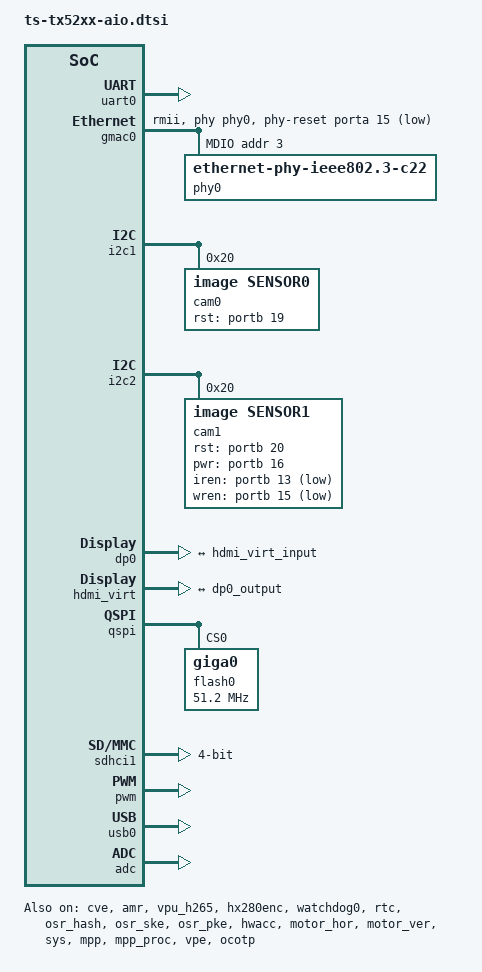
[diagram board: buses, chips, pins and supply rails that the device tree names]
/*
 * dts file for tsingmicro tx511 haps
 *
 * Copyright 2022 Tsingmicro, Inc.
 *
 * This program is free software; you can redistribute it and/or
 * modify it under the terms of the GNU General Public License as
 * published by the Free Software Foundation; either version 2 of
 * the License, or (at your option) any later version.
 */

#include "ts-tx5215.dtsi"
#include "ts-tx5215-clk.dtsi"
#include "ts-tx5215-reset.dtsi"
#include "ts-tx52xx-aio-pinctrl.dtsi"

/ {
	chosen {
		/*bootargs = "console=ttyS0,115200n8 initrd=0xc4000000,4M init=/linuxrc
		 * root=/dev/ram0 rw rootfstype=ext4 rootwait ignore_loglevel earlycon";
		 */
		bootargs = "console=ttyS0,115200n8 earlycon";
		/*bootargs = "console=ttyS0,115200n8 ignore_loglevel";
		 *bootargs = "root=/dev/ram0 rw ramdisk=8192 initrd=0x41000000,8M
		 *console=ttyS0,115200n8 init=/linuxrc";
		 */
		stdout-path = "serial0:115200";
	};

	sound {
		status = "disabled";
		compatible = "ts-es8388,tx5215";
		model = "ts-audio-es8388";
		i2s-controller = <&i2s>;
		audio-codec = <&ts_codec>;
	};

};

&uart0 {
	status = "okay";
};

&uart1 {
	pinctrl-names = "default";
	// pinctrl-0 = <&uart1_pinctrl>;
	status = "disabled";
};

&uart2 {
	pinctrl-names = "default";
	// pinctrl-0 = <&uart2_pinctrl_0>;
	status = "disabled";
};

&usart0 {
	status = "disabled";
};

&usart1 {
	status = "disabled";
};

&rne_dma {
	status = "okay";
};

&gmac0 {
	status = "okay";
	phy-handle = <&phy0>;
	phy-mode = "rmii";
	pinctrl-names = "default";
	pinctrl-0 = <&mac0_pinctrl0>, <&mac0_pinctrl1>, <&mac0_rst_pinctrl>;
	phy-reset-gpios = <&porta 15 GPIO_ACTIVE_LOW>;
	mdio {
		#address-cells = <0x1>;
		#size-cells = <0x0>;
		phy0: phy@0 {
			compatible = "ethernet-phy-ieee802.3-c22";
			device_type = "ethernet-phy";
			reg = <0x3>;
		};
	};
};

&i2c0 {
	status = "disabled";
};

&i2c1 {
	status = "okay";
	pinctrl-names = "default";
	pinctrl-0 = <&i2c1_pinctrl_1>;
	i2c-sda-hold-time-ns = <600>;

	cam0: imgsensor0@20 {
		compatible = "image,sensor0";
		reg = <0x20>;

		pinctrl-names = "default", "default";
		pinctrl-0 = <&gpiob19_pinctrl>;
		pinctrl-1 = <&chip_out0_pinctrl>;
		rst-gpios = <&portb 19 GPIO_ACTIVE_HIGH>;

		clocks = <&ts_clk TS_CLK_TX5215_CHIP_OCLK_I0>;
		clock-names = "mclk";
		assigned-clocks = <&ts_clk TS_CLK_TX5215_CHIP_OCLK_I0>;
		assigned-clock-rates = <24000000>;
	};
};

&i2c2 {
	status = "okay";
	pinctrl-names = "default";
	pinctrl-0 = <&i2c2_pinctrl_1>;
	i2c-sda-hold-time-ns = <600>;
	//i2c-sda-falling-time-ns = <600>;
	//i2c-scl-falling-time-ns = <400>;

	cam1: imgsensor1@20 {
		compatible = "image,sensor1";
		reg = <0x20>;

		pinctrl-names = "default";
		pinctrl-0 = <&gpiob20_pinctrl>, <&gpiob13_pinctrl>, <&gpiob15_pinctrl>, <&gpiob16_pinctrl>;
		rst-gpios = <&portb 20 GPIO_ACTIVE_HIGH>;
		pwr-gpios = <&portb 16 GPIO_ACTIVE_HIGH>;
		iren-gpios = <&portb 13 GPIO_ACTIVE_LOW>;
		wren-gpios = <&portb 15 GPIO_ACTIVE_LOW>;

		clocks = <&ts_clk TS_CLK_TX5215_CHIP_OCLK_I0>;
		clock-names = "mclk";
	};
};

&i2c3 {
	status = "disabled";
};

&ui2c0 {
	status = "disabled";
};

&ui2c1 {
	status = "disabled";
};

&gpio0 {
	pinctrl-names = "default";
	pinctrl-0 = <&ir_cut_gpio_pinctrl>;
	status = "okay";
};

&dp0 {
	status = "okay";
	port {
		dp0_output: endpoint {
			remote-endpoint = <&hdmi_virt_input>;
		};
	};
};

&hdmi_virt {
	status = "okay";
	ports {
		port {
			#address-cells = <1>;
			#size-cells = <0>;

			hdmi_virt_input: endpoint@0 {
				reg = <0>;
				remote-endpoint = <&dp0_output>;
			};
		};
	};
};

&cve {
	status = "okay";
};

&can0 {
	status = "disabled";
	pinctrl-names = "default";
	pinctrl-0 = <&can0_pinctrl_0 &can0_pinctrl_1>;
};

&can1 {
	status = "disabled";
	pinctrl-names = "default";
	pinctrl-0 = <&can1_pinctrl_0 &can1_pinctrl_1>;
};

&amr {
	status = "okay";
};

&vpu_h265 {
	status = "okay";
};

&hx280enc {
	status = "okay";
};

&qspi {
	status = "okay";
	page-size = <256>;
	block-size = <16>;
	#address-cells = <1>;
	#size-cells = <0>;

#if 0
	nand1:spi-nand@0 {
		status = "okay";
		compatible = "spi-nand";
		reg = <0>; /* CS0 */
		//spi-max-frequency = <40000000>;
		spi-max-frequency = <20000000>;
		page-size = <2048>;
		block-size = <131072>;
		spi-rx-bus-width = <4>;
		spi-tx-bus-width = <4>;
		cdns,read-delay = <0>;
		cdns,tshsl-ns = <0>;
		cdns,tsd2d-ns = <0>;
		cdns,tchsh-ns = <0>;
		cdns,tslch-ns = <0>;
		partitions {
			compatible = "fixed-partitions";
			#address-cells = <1>;
			#size-cells = <1>;

			/* reserved for future boot direct from NAND flash
			 * (this would use the same layout as the 8MiB NOR flash)
			 */
			partition@0 {
				label = "nand-boot-reserved";
				reg = <0 0x800000>;
			};

			/* recovery / install environment */
			partition@800000 {
				label = "recovery";
				reg = <0x800000 0x2000000>;
			};

			/* ubia (first OpenWrt) - a/b names to prevent confusion with ubi0/1/etc. */
			partition@2800000 {
				label = "ubia";
				reg = <0x2800000 0x3C00000>;
			};
#if 0
			/* ubib (second OpenWrt) */
			partition@6400000 {
				label = "ubib";
				reg = <0x6400000 0x3C00000>;
			};
#endif
		};
	};

#else

	flash0: giga0@0 {
		reg = <0>; /* CS0 */
		cdns,read-delay = <2>;
		cdns,tshsl-ns = <40>;
		cdns,tsd2d-ns = <50>;
		cdns,tchsh-ns = <3>;
		cdns,tslch-ns = <4>;
		spi-max-frequency = <51200000>;
		#address-cells = <1>;
		#size-cells = <1>;
	};
#endif
};

&sdhci0 {
	/* qspi and sdhci0 cannot coexist */
	/*status = "okay";*/
	status = "disabled";
	pinctrl-names = "default";
	pinctrl-0 = <&emmc0_pinctrl>;
};

&sdhci1 {
	status = "okay";
	max-frequency = <25000000>;
	no-1-8-v;
	bus-width = <4>;
	cap-sd-highspeed;
	pinctrl-names = "default";
	pinctrl-0 = <&mshc1_pinctrl &emmc1_pinctrl &sd_pwr_pinctrl>;
	card-detect-delay = <200>;
	//sdpwr-gpios = <&porta 24 GPIO_ACTIVE_HIGH>;
};

&spi0 {
	status = "disabled";
};

&watchdog0 {
	status = "okay";
};

&pwm {
	status = "okay";
};

&rtc {
	status = "okay";
};

&osr_hash {
	status = "okay";
};

&osr_ske {
	status = "okay";
};

&osr_pke {
	status = "okay";
};

&pinctrl {
	status = "okay";
};

&hwacc {
	status = "okay";
};

&dwahbdma0 {
	status = "okay";
};

&dwahbdma1 {
	status = "okay";
};

&dw_axi_dmac {
	status = "okay";
};

&motor_hor {
	status = "okay";
	pinctrl-names = "default";
	pinctrl-0 = <&motor_pinctrl0>;
	motor1-gpios = <&porta 23 GPIO_ACTIVE_HIGH>;
	motor2-gpios = <&porta 25 GPIO_ACTIVE_HIGH>;
	motor3-gpios = <&porta 26 GPIO_ACTIVE_HIGH>;
	motor4-gpios = <&porta 27 GPIO_ACTIVE_HIGH>;
};

&motor_ver {
	status = "okay";
	pinctrl-names = "default";
	pinctrl-0 = <&motor_pinctrl1>;
	motor1-gpios = <&porta 28 GPIO_ACTIVE_HIGH>;
	motor2-gpios = <&porta 29 GPIO_ACTIVE_HIGH>;
	motor3-gpios = <&porta 30 GPIO_ACTIVE_HIGH>;
	motor4-gpios = <&porta 31 GPIO_ACTIVE_HIGH>;
};

&pdmic {
	pinctrl-names = "default";
	pinctrl-0 = <&pdmic_pinctrl_0>;
	ts,model = "PDMIC @ tsm-tx5215-fpga";
	ts,mic-min-freq = <1024000>;
	ts,mic-max-freq = <3072000>;
	ts,mic-offset = <0x0>;
	status = "disabled";
	dmas = <&dwahbdma1 0x6 1 0>;
	dma-names = "rx";
};

&ts_codec {
	status = "disabled";
	ts,model = "ts-codec";
	dmas = <&dwahbdma1 0xe 1 1 &dwahbdma1 0xd 1 0>;
	dma-names = "tx","rx";
	pinctrl-names = "default";
	pinctrl-0 = <&gpioa11_pinctrl>;
	speaker-gpios = <&porta 11 GPIO_ACTIVE_HIGH>;
};

&sys {
	status = "okay";
};

&mpp {
	status = "okay";
};

&mpp_proc {
	status = "okay";
};

&vpe {
	status = "okay";
};

&usb0 {
	status = "okay";
	//pinctrl-names = "default";
	//pinctrl-0 = <&usb_pinctrl>;
	//drvvbus-gpios  = <&portb 11 GPIO_ACTIVE_HIGH>;
};

&ocotp {
	status = "okay";
};

&adc {
	status = "okay";
};
